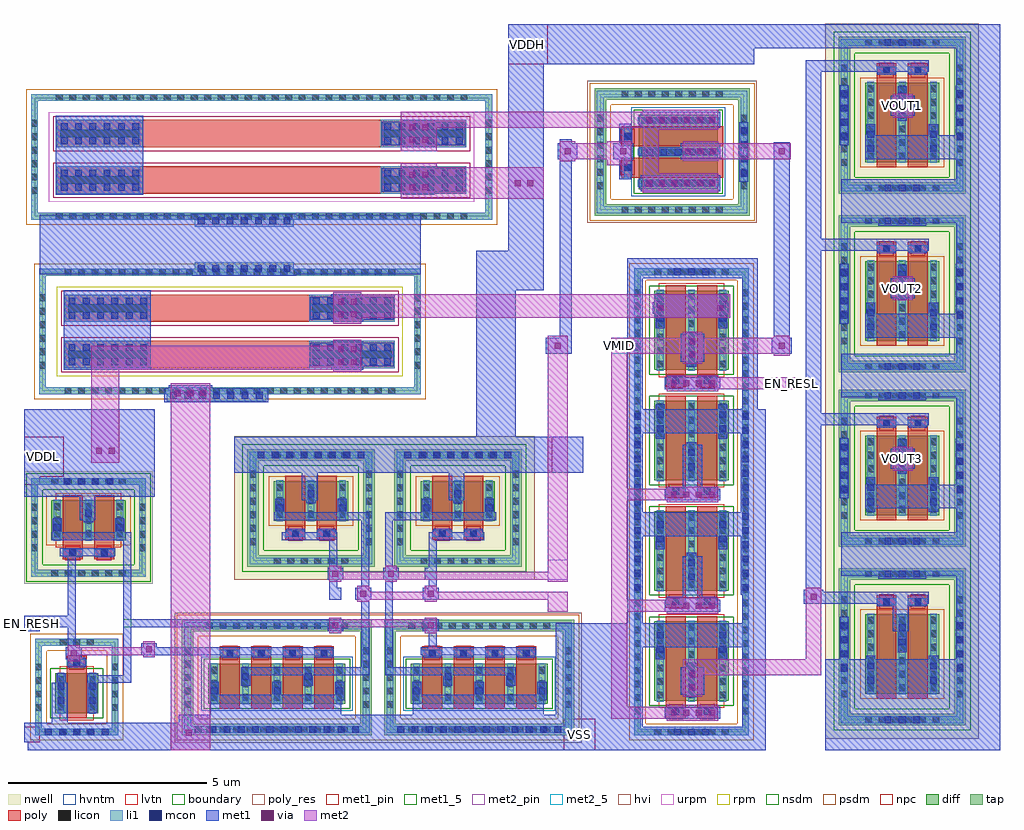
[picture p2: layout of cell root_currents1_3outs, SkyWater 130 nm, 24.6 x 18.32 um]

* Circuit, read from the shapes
.subckt root_currents1_3outs EN_RESH EN_RESL VDDH VDDL VMID VOUT1 VOUT2 VOUT3 VSS
XM1 lvl_shift_lohi1_7/DB EN_RESH VSS VSS sky130_fd_pr__nfet_01v8_lvt w=1 l=0.5
XM2 lvl_shift_lohi1_7/QB EN_RESH VSS VSS sky130_fd_pr__nfet_g5v0d10v5 w=1 l=0.5 m=4
XM3 lvl_shift_lohi1_7/Q lvl_shift_lohi1_7/DB VSS VSS sky130_fd_pr__nfet_g5v0d10v5 w=1 l=0.5 m=4
XM4 VMID lvl_shift_lohi1_7/Q n1 VSS sky130_fd_pr__nfet_g5v0d10v5 w=2 l=0.5 m=2
XM5 n2 VMID VSS VSS sky130_fd_pr__nfet_01v8_lvt w=2 l=0.5 m=2
XM6 VMID VMID VSS VSS sky130_fd_pr__nfet_01v8_lvt w=2 l=0.5 m=4
XM7 VMID EN_RESL n3 VSS sky130_fd_pr__nfet_01v8_lvt w=2 l=0.5 m=2
XM8 VDDL EN_RESH lvl_shift_lohi1_7/DB VDDL sky130_fd_pr__pfet_01v8_lvt w=1 l=0.5 m=2
XM9 VDDH lvl_shift_lohi1_7/Q lvl_shift_lohi1_7/QB VDDH sky130_fd_pr__pfet_g5v0d10v5 w=1 l=0.5 m=2
XM10 VDDH lvl_shift_lohi1_7/QB lvl_shift_lohi1_7/Q VDDH sky130_fd_pr__pfet_g5v0d10v5 w=1 l=0.5 m=2
XM11 n2 n2 VDDH VDDH sky130_fd_pr__pfet_g5v0d10v5 w=2 l=0.5 m=2
XM12 VOUT3 n2 VDDH VDDH sky130_fd_pr__pfet_g5v0d10v5 w=2 l=0.5 m=2
XM13 VOUT2 n2 VDDH VDDH sky130_fd_pr__pfet_g5v0d10v5 w=2 l=0.5 m=2
XM14 VOUT1 n2 VDDH VDDH sky130_fd_pr__pfet_g5v0d10v5 w=2 l=0.5 m=2
XR15 VDDH n4 VSS sky130_fd_pr__res_xhigh_po w=0.69 l=6.04
XR16 n1 n4 VSS sky130_fd_pr__res_xhigh_po w=0.69 l=6.04
XR17 VDDL n5 VSS sky130_fd_pr__res_high_po w=0.69 l=4.04
XR18 n3 n5 VSS sky130_fd_pr__res_high_po w=0.69 l=4.04
.ends

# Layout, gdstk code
from math import pi, radians
import gdstk
lib = gdstk.Library(unit=1e-6, precision=1e-09)
def R(c, l, rs):  # rectangles x0, y0, x1, y1
    for r in rs: c.add(gdstk.rectangle(r[:2], r[2:], *l))
def A(c, l, x, y, w, h, nx, ny, dx, dy):  # array of equal rectangles
    R(c, l, [(x+i*dx, y+j*dy, x+i*dx+w, y+j*dy+h) for i in range(nx) for j in range(ny)])
nwell = (64, 20)
diff = (65, 20)
tap = (65, 44)
poly_res = (66, 13)
poly = (66, 20)
licon = (66, 44)
li1 = (67, 20)
mcon = (67, 44)
met1_5 = (68, 5)
met1_pin = (68, 16)
met1 = (68, 20)
via = (68, 44)
met2_5 = (69, 5)
met2_pin = (69, 16)
met2 = (69, 20)
hvi = (75, 20)
urpm = (79, 20)
rpm = (86, 20)
nsdm = (93, 44)
psdm = (94, 20)
npc = (95, 20)
hvntm = (125, 20)
lvtn = (125, 44)
boundary = (235, 4)

sky130_fd_pr__pfet_g5v0d = lib.new_cell('sky130_fd_pr__pfet_g5v0d10v5_PY9F4X')
R(sky130_fd_pr__pfet_g5v0d, nwell, [(-1.935,-2.31,1.935,2.31)])
R(sky130_fd_pr__pfet_g5v0d, diff, [(-0.935,-1.18,0.935,0.82)])
R(sky130_fd_pr__pfet_g5v0d, tap, [(-1.605,-1.98,1.605,-1.69), (-1.605,-1.69,-1.315,1.69), (1.315,-1.69,1.605,1.69), (-1.605,1.69,1.605,1.98)])
R(sky130_fd_pr__pfet_g5v0d, poly, [(-0.645,-1.31,-0.145,1.305), (0.145,-1.31,0.645,1.305)])
A(sky130_fd_pr__pfet_g5v0d, licon, -0.935, -1.92, 0.17, 0.17, 6, 2, 0.34, 3.67)
A(sky130_fd_pr__pfet_g5v0d, licon, -1.545, -1.275, 0.17, 0.17, 1, 8, 0, 0.34)
A(sky130_fd_pr__pfet_g5v0d, licon, 1.375, -1.275, 0.17, 0.17, 1, 8, 0, 0.34)
A(sky130_fd_pr__pfet_g5v0d, licon, -0.875, -1.115, 0.17, 0.17, 3, 6, 0.79, 0.34)
R(sky130_fd_pr__pfet_g5v0d, licon, [(-0.48,1.055,-0.31,1.225), (0.31,1.055,0.48,1.225)])
A(sky130_fd_pr__pfet_g5v0d, li1, -0.875, -1.2, 0.17, 2.04, 3, 1, 0.79, 0)
R(sky130_fd_pr__pfet_g5v0d, li1, [(-1.545,-1.92,1.545,-1.75), (-1.545,-1.75,-1.375,1.75), (1.375,-1.75,1.545,1.75), (-0.645,1.055,-0.145,1.225), (0.145,1.055,0.645,1.225), (-1.545,1.75,1.545,1.92)])
A(sky130_fd_pr__pfet_g5v0d, mcon, -0.445, -1.92, 0.17, 0.17, 3, 2, 0.36, 3.67)
A(sky130_fd_pr__pfet_g5v0d, mcon, -1.545, -0.625, 0.17, 0.17, 1, 4, 0, 0.36)
A(sky130_fd_pr__pfet_g5v0d, mcon, 1.375, -0.625, 0.17, 0.17, 1, 4, 0, 0.36)
R(sky130_fd_pr__pfet_g5v0d, mcon, [(-0.875,-0.925,-0.705,-0.755), (0.705,-0.925,0.875,-0.755), (-0.875,-0.565,-0.705,-0.395), (0.705,-0.565,0.875,-0.395), (-0.085,0.035,0.085,0.205), (-0.085,0.395,0.085,0.565), (-0.48,1.055,-0.31,1.225), (0.31,1.055,0.48,1.225)])
R(sky130_fd_pr__pfet_g5v0d, met1, [(-0.61,-1.95,0.61,-1.72), (-0.905,-1.095,-0.675,-0.225), (0.675,-1.095,0.905,-0.225), (-1.575,-0.76,-1.345,0.76), (1.345,-0.76,1.575,0.76), (-0.115,-0.135,0.115,0.735), (-0.625,1.025,-0.165,1.255), (0.165,1.025,0.625,1.255), (-0.61,1.72,0.61,1.95)])
R(sky130_fd_pr__pfet_g5v0d, hvi, [(-1.935,-2.31,1.935,2.31)])
R(sky130_fd_pr__pfet_g5v0d, nsdm, [(-1.73,-2.105,1.73,-1.565), (-1.73,-1.565,-1.19,1.565), (1.19,-1.565,1.73,1.565), (-1.73,1.565,1.73,2.105)])
R(sky130_fd_pr__pfet_g5v0d, psdm, [(-1.06,-1.305,1.06,0.945)])
R(sky130_fd_pr__pfet_g5v0d, npc, [(-0.58,0.955,-0.21,1.325), (0.21,0.955,0.58,1.325)])
R(sky130_fd_pr__pfet_g5v0d, boundary, [(-1.46,-1.835,1.46,1.835)])

sky130_fd_pr__nfet_g5v0d = lib.new_cell('sky130_fd_pr__nfet_g5v0d10v5_FLD2WH')
R(sky130_fd_pr__nfet_g5v0d, diff, [(-0.935,-1.155,0.935,0.845)])
R(sky130_fd_pr__nfet_g5v0d, tap, [(-1.605,-1.955,1.605,-1.665), (-1.605,-1.665,-1.315,1.665), (1.315,-1.665,1.605,1.665), (-1.605,1.665,1.605,1.955)])
R(sky130_fd_pr__nfet_g5v0d, poly, [(-0.645,-1.285,-0.145,1.285), (0.145,-1.285,0.645,1.285)])
A(sky130_fd_pr__nfet_g5v0d, licon, -0.935, -1.895, 0.17, 0.17, 6, 2, 0.34, 3.62)
A(sky130_fd_pr__nfet_g5v0d, licon, -1.545, -1.275, 0.17, 0.17, 1, 8, 0, 0.34)
A(sky130_fd_pr__nfet_g5v0d, licon, 1.375, -1.275, 0.17, 0.17, 1, 8, 0, 0.34)
A(sky130_fd_pr__nfet_g5v0d, licon, -0.875, -1.09, 0.17, 0.17, 3, 6, 0.79, 0.34)
R(sky130_fd_pr__nfet_g5v0d, licon, [(-0.48,1.035,-0.31,1.205), (0.31,1.035,0.48,1.205)])
A(sky130_fd_pr__nfet_g5v0d, li1, -0.875, -1.175, 0.17, 2.04, 3, 1, 0.79, 0)
R(sky130_fd_pr__nfet_g5v0d, li1, [(-1.545,-1.895,1.545,-1.725), (-1.545,-1.725,-1.375,1.725), (1.375,-1.725,1.545,1.725), (-0.645,1.035,-0.145,1.205), (0.145,1.035,0.645,1.205), (-1.545,1.725,1.545,1.895)])
A(sky130_fd_pr__nfet_g5v0d, mcon, -0.625, -1.895, 0.17, 0.17, 4, 1, 0.36, 0)
A(sky130_fd_pr__nfet_g5v0d, mcon, -0.875, -0.96, 0.17, 0.17, 3, 5, 0.79, 0.36)
R(sky130_fd_pr__nfet_g5v0d, mcon, [(-0.48,1.035,-0.31,1.205), (0.31,1.035,0.48,1.205)])
A(sky130_fd_pr__nfet_g5v0d, met1, -0.905, -1.155, 0.23, 2, 3, 1, 0.79, 0)
R(sky130_fd_pr__nfet_g5v0d, met1, [(-0.75,-1.925,0.75,-1.695), (-0.625,1.005,-0.165,1.235), (0.165,1.005,0.625,1.235)])
R(sky130_fd_pr__nfet_g5v0d, hvi, [(-1.79,-2.14,1.79,2.14)])
R(sky130_fd_pr__nfet_g5v0d, nsdm, [(-1.06,-1.28,1.06,0.97)])
R(sky130_fd_pr__nfet_g5v0d, psdm, [(-1.73,-2.08,1.73,-1.54), (-1.73,-1.54,-1.19,1.54), (1.19,-1.54,1.73,1.54), (-1.73,1.54,1.73,2.08)])
R(sky130_fd_pr__nfet_g5v0d, npc, [(-0.58,0.935,-0.21,1.305), (0.21,0.935,0.58,1.305)])
R(sky130_fd_pr__nfet_g5v0d, hvntm, [(-1.12,-1.34,1.12,1.03)])
R(sky130_fd_pr__nfet_g5v0d, boundary, [(-1.46,-1.81,1.46,1.81)])

sky130_fd_pr__nfet_01v8_ = lib.new_cell('sky130_fd_pr__nfet_01v8_lvt_GXPBWL')
A(sky130_fd_pr__nfet_01v8_, diff, -0.935, -5.325, 1.87, 2, 1, 4, 0, 2.78)
R(sky130_fd_pr__nfet_01v8_, tap, [(-1.445,-5.885,1.445,-5.715), (-1.445,-5.715,-1.275,5.715), (1.275,-5.715,1.445,5.715), (-1.445,5.715,1.445,5.885)])
A(sky130_fd_pr__nfet_01v8_, poly, -0.645, -5.455, 0.5, 2.57, 1, 4, 0, 2.78)
A(sky130_fd_pr__nfet_01v8_, poly, 0.145, -5.455, 0.5, 2.57, 1, 4, 0, 2.78)
A(sky130_fd_pr__nfet_01v8_, licon, -0.935, -5.885, 0.17, 0.17, 6, 2, 0.34, 11.6)
A(sky130_fd_pr__nfet_01v8_, licon, -1.445, -5.355, 0.17, 0.17, 1, 32, 0, 0.34)
A(sky130_fd_pr__nfet_01v8_, licon, 1.275, -5.355, 0.17, 0.17, 1, 32, 0, 0.34)
A(sky130_fd_pr__nfet_01v8_, licon, -0.875, -5.26, 0.17, 0.17, 3, 6, 0.79, 0.34)
A(sky130_fd_pr__nfet_01v8_, licon, -0.48, -3.135, 0.17, 0.17, 1, 4, 0, 2.78)
A(sky130_fd_pr__nfet_01v8_, licon, 0.31, -3.135, 0.17, 0.17, 1, 4, 0, 2.78)
A(sky130_fd_pr__nfet_01v8_, licon, -0.875, -2.48, 0.17, 0.17, 3, 6, 0.79, 0.34)
A(sky130_fd_pr__nfet_01v8_, licon, -0.875, 0.3, 0.17, 0.17, 3, 6, 0.79, 0.34)
A(sky130_fd_pr__nfet_01v8_, licon, -0.875, 3.08, 0.17, 0.17, 3, 6, 0.79, 0.34)
A(sky130_fd_pr__nfet_01v8_, li1, -0.875, -5.345, 0.17, 2.04, 3, 4, 0.79, 2.78)
A(sky130_fd_pr__nfet_01v8_, li1, -0.645, -3.135, 0.5, 0.17, 1, 4, 0, 2.78)
A(sky130_fd_pr__nfet_01v8_, li1, 0.145, -3.135, 0.5, 0.17, 1, 4, 0, 2.78)
R(sky130_fd_pr__nfet_01v8_, li1, [(-1.445,-5.885,1.445,-5.715), (-1.445,-5.715,-1.275,5.715), (1.275,-5.715,1.445,5.715), (-1.445,5.715,1.445,5.885)])
A(sky130_fd_pr__nfet_01v8_, mcon, -0.445, -5.885, 0.17, 0.17, 3, 2, 0.36, 11.6)
A(sky130_fd_pr__nfet_01v8_, mcon, -0.48, -3.135, 0.17, 0.17, 1, 4, 0, 2.78)
A(sky130_fd_pr__nfet_01v8_, mcon, 0.31, -3.135, 0.17, 0.17, 1, 4, 0, 2.78)
A(sky130_fd_pr__nfet_01v8_, mcon, -1.445, -2.245, 0.17, 0.17, 1, 13, 0, 0.36)
A(sky130_fd_pr__nfet_01v8_, mcon, 1.275, -2.245, 0.17, 0.17, 1, 13, 0, 0.36)
R(sky130_fd_pr__nfet_01v8_, mcon, [(-0.875,-5.07,-0.705,-4.9), (0.705,-5.07,0.875,-4.9), (-0.875,-4.71,-0.705,-4.54), (0.705,-4.71,0.875,-4.54), (-0.085,-4.11,0.085,-3.94), (-0.085,-3.75,0.085,-3.58), (-0.875,-2.29,-0.705,-2.12), (0.705,-2.29,0.875,-2.12), (-0.875,-1.93,-0.705,-1.76), (0.705,-1.93,0.875,-1.76), (-0.085,-1.33,0.085,-1.16), (-0.085,-0.97,0.085,-0.8), (-0.875,0.49,-0.705,0.66), (0.705,0.49,0.875,0.66), (-0.875,0.85,-0.705,1.02), (0.705,0.85,0.875,1.02), (-0.085,1.45,0.085,1.62), (-0.085,1.81,0.085,1.98), (-0.875,3.27,-0.705,3.44), (0.705,3.27,0.875,3.44), (-0.875,3.63,-0.705,3.8), (0.705,3.63,0.875,3.8), (-0.085,4.23,0.085,4.4), (-0.085,4.59,0.085,4.76)])
A(sky130_fd_pr__nfet_01v8_, met1, -0.905, -5.24, 0.23, 0.87, 1, 4, 0, 2.78)
A(sky130_fd_pr__nfet_01v8_, met1, 0.675, -5.24, 0.23, 0.87, 1, 4, 0, 2.78)
A(sky130_fd_pr__nfet_01v8_, met1, -0.115, -4.28, 0.23, 0.87, 1, 4, 0, 2.78)
A(sky130_fd_pr__nfet_01v8_, met1, -0.625, -3.165, 0.46, 0.23, 1, 4, 0, 2.78)
A(sky130_fd_pr__nfet_01v8_, met1, 0.165, -3.165, 0.46, 0.23, 1, 4, 0, 2.78)
R(sky130_fd_pr__nfet_01v8_, met1, [(-0.57,-5.915,0.57,-5.685), (-1.475,-2.345,-1.245,2.345), (1.245,-2.345,1.475,2.345), (-0.57,5.685,0.57,5.915)])
A(sky130_fd_pr__nfet_01v8_, nsdm, -1.06, -5.45, 2.12, 2.25, 1, 4, 0, 2.78)
R(sky130_fd_pr__nfet_01v8_, psdm, [(-1.57,-6.01,1.57,-5.59), (-1.57,-5.59,-1.15,5.59), (1.15,-5.59,1.57,5.59), (-1.57,5.59,1.57,6.01)])
A(sky130_fd_pr__nfet_01v8_, npc, -0.58, -3.235, 0.37, 0.37, 1, 4, 0, 2.78)
A(sky130_fd_pr__nfet_01v8_, npc, 0.21, -3.235, 0.37, 0.37, 1, 4, 0, 2.78)
A(sky130_fd_pr__nfet_01v8_, lvtn, -0.825, -5.505, 1.65, 2.36, 1, 4, 0, 2.78)
R(sky130_fd_pr__nfet_01v8_, boundary, [(-1.36,-5.8,1.36,5.8)])

sky130_fd_pr__res_high_p = lib.new_cell('sky130_fd_pr__res_high_po_0p69_SYH6D8')
R(sky130_fd_pr__res_high_p, tap, [(-1.58,-4.81,1.58,-4.64), (-1.58,-4.64,-1.41,4.64), (1.41,-4.64,1.58,4.64), (-1.58,4.64,1.58,4.81)])
R(sky130_fd_pr__res_high_p, poly_res, [(-0.93,-2.08,-0.24,2.08), (0.24,-2.08,0.93,2.08)])
R(sky130_fd_pr__res_high_p, poly, [(-0.93,-4.16,-0.24,4.16), (0.24,-4.16,0.93,4.16)])
A(sky130_fd_pr__res_high_p, licon, -0.935, -4.81, 0.17, 0.17, 6, 2, 0.34, 9.45)
A(sky130_fd_pr__res_high_p, licon, -1.58, -4.165, 0.17, 0.17, 1, 25, 0, 0.34)
A(sky130_fd_pr__res_high_p, licon, 1.41, -4.165, 0.17, 0.17, 1, 25, 0, 0.34)
R(sky130_fd_pr__res_high_p, licon, [(-0.68,-4.08,-0.49,-2.08), (0.49,-4.08,0.68,-2.08), (-0.68,2.08,-0.49,4.08), (0.49,2.08,0.68,4.08)])
R(sky130_fd_pr__res_high_p, li1, [(-1.58,-4.81,1.58,-4.64), (-1.58,-4.64,-1.41,4.64), (1.41,-4.64,1.58,4.64), (-0.93,-4.16,-0.24,-2), (0.24,-4.16,0.93,-2), (-0.93,2,-0.24,4.16), (0.24,2,0.93,4.16), (-1.58,4.64,1.58,4.81)])
A(sky130_fd_pr__res_high_p, mcon, -0.85, -4.065, 0.17, 0.17, 1, 6, 0, 0.36)
A(sky130_fd_pr__res_high_p, mcon, -0.49, -4.065, 0.17, 0.17, 1, 6, 0, 0.36)
A(sky130_fd_pr__res_high_p, mcon, 0.32, -4.065, 0.17, 0.17, 1, 6, 0, 0.36)
A(sky130_fd_pr__res_high_p, mcon, 0.68, -4.065, 0.17, 0.17, 1, 6, 0, 0.36)
A(sky130_fd_pr__res_high_p, mcon, -0.85, 2.09, 0.17, 0.17, 1, 6, 0, 0.36)
A(sky130_fd_pr__res_high_p, mcon, -0.49, 2.09, 0.17, 0.17, 1, 6, 0, 0.36)
A(sky130_fd_pr__res_high_p, mcon, 0.32, 2.09, 0.17, 0.17, 1, 6, 0, 0.36)
A(sky130_fd_pr__res_high_p, mcon, 0.68, 2.09, 0.17, 0.17, 1, 6, 0, 0.36)
R(sky130_fd_pr__res_high_p, met1, [(-0.88,-4.13,-0.29,-2.025), (0.29,-4.13,0.88,-2.025), (-0.88,2.025,-0.29,4.13), (0.29,2.025,0.88,4.13)])
R(sky130_fd_pr__res_high_p, rpm, [(-1.13,-4.36,1.13,4.36)])
R(sky130_fd_pr__res_high_p, psdm, [(-1.705,-4.935,1.705,4.935)])
R(sky130_fd_pr__res_high_p, npc, [(-1.025,-4.255,-0.145,4.255), (0.145,-4.255,1.025,4.255)])
R(sky130_fd_pr__res_high_p, boundary, [(-1.495,-4.725,1.495,4.725)])

c_sky130_fd_pr__nfet_01v8_ = lib.new_cell('sky130_fd_pr__nfet_01v8_lvt_FETKPT')
R(c_sky130_fd_pr__nfet_01v8_, diff, [(-0.54,-0.655,0.54,0.345)])
R(c_sky130_fd_pr__nfet_01v8_, tap, [(-1.05,-1.215,1.05,-1.045), (-1.05,-1.045,-0.88,1.045), (0.88,-1.045,1.05,1.045), (-1.05,1.045,1.05,1.215)])
R(c_sky130_fd_pr__nfet_01v8_, poly, [(-0.25,-0.785,0.25,0.785)])
A(c_sky130_fd_pr__nfet_01v8_, licon, -0.425, -1.215, 0.17, 0.17, 3, 2, 0.34, 2.26)
A(c_sky130_fd_pr__nfet_01v8_, licon, -1.05, -0.595, 0.17, 0.17, 1, 4, 0, 0.34)
A(c_sky130_fd_pr__nfet_01v8_, licon, 0.88, -0.595, 0.17, 0.17, 1, 4, 0, 0.34)
A(c_sky130_fd_pr__nfet_01v8_, licon, -0.48, -0.58, 0.17, 0.17, 1, 3, 0, 0.34)
A(c_sky130_fd_pr__nfet_01v8_, licon, 0.31, -0.58, 0.17, 0.17, 1, 3, 0, 0.34)
R(c_sky130_fd_pr__nfet_01v8_, licon, [(-0.085,0.535,0.085,0.705)])
R(c_sky130_fd_pr__nfet_01v8_, li1, [(-1.05,-1.215,1.05,-1.045), (-1.05,-1.045,-0.88,1.045), (0.88,-1.045,1.05,1.045), (-0.48,-0.675,-0.31,0.365), (0.31,-0.675,0.48,0.365), (-0.25,0.535,0.25,0.705), (-1.05,1.045,1.05,1.215)])
A(c_sky130_fd_pr__nfet_01v8_, mcon, -0.805, -1.215, 0.17, 0.17, 5, 1, 0.36, 0)
R(c_sky130_fd_pr__nfet_01v8_, mcon, [(-0.48,-0.42,-0.31,-0.25), (0.31,-0.42,0.48,-0.25), (-0.48,-0.06,-0.31,0.11), (0.31,-0.06,0.48,0.11), (-0.085,0.535,0.085,0.705)])
R(c_sky130_fd_pr__nfet_01v8_, met1, [(-0.94,-1.245,0.94,-1.015), (-0.51,-0.655,-0.28,0.345), (0.28,-0.655,0.51,0.345), (-0.23,0.505,0.23,0.735)])
R(c_sky130_fd_pr__nfet_01v8_, nsdm, [(-0.665,-0.78,0.665,0.47)])
R(c_sky130_fd_pr__nfet_01v8_, psdm, [(-1.175,-1.34,1.175,-0.92), (-1.175,-0.92,-0.755,0.92), (0.755,-0.92,1.175,0.92), (-1.175,0.92,1.175,1.34)])
R(c_sky130_fd_pr__nfet_01v8_, npc, [(-0.185,0.435,0.185,0.805)])
R(c_sky130_fd_pr__nfet_01v8_, lvtn, [(-0.43,-0.835,0.43,0.525)])
R(c_sky130_fd_pr__nfet_01v8_, boundary, [(-0.965,-1.13,0.965,1.13)])

c_sky130_fd_pr__nfet_g5v0d = lib.new_cell('sky130_fd_pr__nfet_g5v0d10v5_8MENFK')
R(c_sky130_fd_pr__nfet_g5v0d, diff, [(-1.725,-0.655,1.725,0.345)])
R(c_sky130_fd_pr__nfet_g5v0d, tap, [(-2.395,-1.455,2.395,-1.165), (-2.395,-1.165,-2.105,1.165), (2.105,-1.165,2.395,1.165), (-2.395,1.165,2.395,1.455)])
A(c_sky130_fd_pr__nfet_g5v0d, poly, -1.435, -0.785, 0.5, 1.57, 4, 1, 0.79, 0)
A(c_sky130_fd_pr__nfet_g5v0d, licon, -1.785, -1.395, 0.17, 0.17, 11, 2, 0.34, 2.62)
A(c_sky130_fd_pr__nfet_g5v0d, licon, -2.335, -0.765, 0.17, 0.17, 1, 5, 0, 0.34)
A(c_sky130_fd_pr__nfet_g5v0d, licon, 2.165, -0.765, 0.17, 0.17, 1, 5, 0, 0.34)
A(c_sky130_fd_pr__nfet_g5v0d, licon, -1.665, -0.58, 0.17, 0.17, 5, 3, 0.79, 0.34)
A(c_sky130_fd_pr__nfet_g5v0d, licon, -1.27, 0.535, 0.17, 0.17, 4, 1, 0.79, 0)
A(c_sky130_fd_pr__nfet_g5v0d, li1, -1.665, -0.675, 0.17, 1.04, 5, 1, 0.79, 0)
A(c_sky130_fd_pr__nfet_g5v0d, li1, -1.435, 0.535, 0.5, 0.17, 4, 1, 0.79, 0)
R(c_sky130_fd_pr__nfet_g5v0d, li1, [(-2.335,-1.395,2.335,-1.225), (-2.335,-1.225,-2.165,1.225), (2.165,-1.225,2.335,1.225), (-2.335,1.225,2.335,1.395)])
A(c_sky130_fd_pr__nfet_g5v0d, mcon, -2.065, -1.395, 0.17, 0.17, 12, 1, 0.36, 0)
A(c_sky130_fd_pr__nfet_g5v0d, mcon, -1.665, -0.42, 0.17, 0.17, 3, 1, 1.58, 0)
A(c_sky130_fd_pr__nfet_g5v0d, mcon, -1.27, 0.535, 0.17, 0.17, 4, 1, 0.79, 0)
R(c_sky130_fd_pr__nfet_g5v0d, mcon, [(-0.875,-0.06,-0.705,0.11), (0.705,-0.06,0.875,0.11)])
A(c_sky130_fd_pr__nfet_g5v0d, met1, -1.695, -0.57, 0.23, 0.47, 3, 1, 1.58, 0)
A(c_sky130_fd_pr__nfet_g5v0d, met1, -1.415, 0.505, 0.46, 0.23, 4, 1, 0.79, 0)
R(c_sky130_fd_pr__nfet_g5v0d, met1, [(-2.225,-1.425,2.225,-1.195), (-0.905,-0.21,-0.675,0.26), (0.675,-0.21,0.905,0.26)])
R(c_sky130_fd_pr__nfet_g5v0d, hvi, [(-2.58,-1.64,2.58,1.64)])
R(c_sky130_fd_pr__nfet_g5v0d, nsdm, [(-1.85,-0.78,1.85,0.47)])
R(c_sky130_fd_pr__nfet_g5v0d, psdm, [(-2.52,-1.58,2.52,-1.04), (-2.52,-1.04,-1.98,1.04), (1.98,-1.04,2.52,1.04), (-2.52,1.04,2.52,1.58)])
A(c_sky130_fd_pr__nfet_g5v0d, npc, -1.37, 0.435, 0.37, 0.37, 4, 1, 0.79, 0)
R(c_sky130_fd_pr__nfet_g5v0d, hvntm, [(-1.91,-0.84,1.91,0.53)])
R(c_sky130_fd_pr__nfet_g5v0d, boundary, [(-2.25,-1.31,2.25,1.31)])

sky130_fd_pr__pfet_01v8_ = lib.new_cell('sky130_fd_pr__pfet_01v8_lvt_3K87YT')
R(sky130_fd_pr__pfet_01v8_, nwell, [(-1.625,-1.42,1.625,1.42)])
R(sky130_fd_pr__pfet_01v8_, diff, [(-0.935,-0.32,0.935,0.68)])
R(sky130_fd_pr__pfet_01v8_, tap, [(-1.445,-1.24,1.445,-1.07), (-1.445,-1.07,-1.275,1.07), (1.275,-1.07,1.445,1.07), (-1.445,1.07,1.445,1.24)])
R(sky130_fd_pr__pfet_01v8_, poly, [(-0.645,-0.805,-0.145,0.81), (0.145,-0.805,0.645,0.81)])
A(sky130_fd_pr__pfet_01v8_, licon, -0.935, -1.24, 0.17, 0.17, 6, 2, 0.34, 2.31)
A(sky130_fd_pr__pfet_01v8_, licon, -1.445, -0.595, 0.17, 0.17, 1, 4, 0, 0.34)
A(sky130_fd_pr__pfet_01v8_, licon, 1.275, -0.595, 0.17, 0.17, 1, 4, 0, 0.34)
A(sky130_fd_pr__pfet_01v8_, licon, -0.875, -0.245, 0.17, 0.17, 3, 3, 0.79, 0.34)
R(sky130_fd_pr__pfet_01v8_, licon, [(-0.48,-0.725,-0.31,-0.555), (0.31,-0.725,0.48,-0.555)])
A(sky130_fd_pr__pfet_01v8_, li1, -0.875, -0.34, 0.17, 1.04, 3, 1, 0.79, 0)
R(sky130_fd_pr__pfet_01v8_, li1, [(-1.445,-1.24,1.445,-1.07), (-1.445,-1.07,-1.275,1.07), (1.275,-1.07,1.445,1.07), (-0.645,-0.725,-0.145,-0.555), (0.145,-0.725,0.645,-0.555), (-1.445,1.07,1.445,1.24)])
A(sky130_fd_pr__pfet_01v8_, mcon, -0.625, 1.07, 0.17, 0.17, 4, 1, 0.36, 0)
R(sky130_fd_pr__pfet_01v8_, mcon, [(-0.48,-0.725,-0.31,-0.555), (0.31,-0.725,0.48,-0.555), (-0.875,-0.085,-0.705,0.085), (0.705,-0.085,0.875,0.085), (-0.085,0.275,0.085,0.445)])
R(sky130_fd_pr__pfet_01v8_, met1, [(-0.625,-0.755,-0.165,-0.525), (0.165,-0.755,0.625,-0.525), (-0.905,-0.235,-0.675,0.235), (0.675,-0.235,0.905,0.235), (-0.115,0.125,0.115,0.595), (-0.7,1.04,0.7,1.27)])
R(sky130_fd_pr__pfet_01v8_, nsdm, [(-1.57,-1.365,1.57,-0.945), (-1.57,-0.945,-1.15,0.945), (1.15,-0.945,1.57,0.945), (-1.57,0.945,1.57,1.365)])
R(sky130_fd_pr__pfet_01v8_, psdm, [(-1.06,-0.445,1.06,0.805)])
R(sky130_fd_pr__pfet_01v8_, npc, [(-0.58,-0.825,-0.21,-0.455), (0.21,-0.825,0.58,-0.455)])
R(sky130_fd_pr__pfet_01v8_, lvtn, [(-0.825,-0.5,0.825,0.86)])
R(sky130_fd_pr__pfet_01v8_, boundary, [(-1.36,-1.155,1.36,1.155)])

c_sky130_fd_pr__pfet_g5v0d = lib.new_cell('sky130_fd_pr__pfet_g5v0d10v5_3JABYW')
R(c_sky130_fd_pr__pfet_g5v0d, nwell, [(-1.935,-1.81,1.935,1.81)])
R(c_sky130_fd_pr__pfet_g5v0d, diff, [(-0.935,-0.32,0.935,0.68)])
R(c_sky130_fd_pr__pfet_g5v0d, tap, [(-1.605,-1.48,1.605,-1.19), (-1.605,-1.19,-1.315,1.19), (1.315,-1.19,1.605,1.19), (-1.605,1.19,1.605,1.48)])
R(c_sky130_fd_pr__pfet_g5v0d, poly, [(-0.645,-0.805,-0.145,0.81), (0.145,-0.805,0.645,0.81)])
A(c_sky130_fd_pr__pfet_g5v0d, licon, -0.935, -1.42, 0.17, 0.17, 6, 2, 0.34, 2.67)
A(c_sky130_fd_pr__pfet_g5v0d, licon, -1.545, -0.935, 0.17, 0.17, 1, 6, 0, 0.34)
A(c_sky130_fd_pr__pfet_g5v0d, licon, 1.375, -0.935, 0.17, 0.17, 1, 6, 0, 0.34)
A(c_sky130_fd_pr__pfet_g5v0d, licon, -0.875, -0.245, 0.17, 0.17, 3, 3, 0.79, 0.34)
R(c_sky130_fd_pr__pfet_g5v0d, licon, [(-0.48,-0.725,-0.31,-0.555), (0.31,-0.725,0.48,-0.555)])
A(c_sky130_fd_pr__pfet_g5v0d, li1, -0.875, -0.34, 0.17, 1.04, 3, 1, 0.79, 0)
R(c_sky130_fd_pr__pfet_g5v0d, li1, [(-1.545,-1.42,1.545,-1.25), (-1.545,-1.25,-1.375,1.25), (1.375,-1.25,1.545,1.25), (-0.645,-0.725,-0.145,-0.555), (0.145,-0.725,0.645,-0.555), (-1.545,1.25,1.545,1.42)])
A(c_sky130_fd_pr__pfet_g5v0d, mcon, -1.345, 1.25, 0.17, 0.17, 8, 1, 0.36, 0)
R(c_sky130_fd_pr__pfet_g5v0d, mcon, [(-0.48,-0.725,-0.31,-0.555), (0.31,-0.725,0.48,-0.555), (-0.875,-0.085,-0.705,0.085), (0.705,-0.085,0.875,0.085), (-0.085,0.275,0.085,0.445)])
R(c_sky130_fd_pr__pfet_g5v0d, met1, [(-0.625,-0.755,-0.165,-0.525), (0.165,-0.755,0.625,-0.525), (-0.905,-0.235,-0.675,0.235), (0.675,-0.235,0.905,0.235), (-0.115,0.125,0.115,0.595), (-1.435,1.22,1.435,1.45)])
R(c_sky130_fd_pr__pfet_g5v0d, hvi, [(-1.935,-1.81,1.935,1.81)])
R(c_sky130_fd_pr__pfet_g5v0d, nsdm, [(-1.73,-1.605,1.73,-1.065), (-1.73,-1.065,-1.19,1.065), (1.19,-1.065,1.73,1.065), (-1.73,1.065,1.73,1.605)])
R(c_sky130_fd_pr__pfet_g5v0d, psdm, [(-1.06,-0.445,1.06,0.805)])
R(c_sky130_fd_pr__pfet_g5v0d, npc, [(-0.58,-0.825,-0.21,-0.455), (0.21,-0.825,0.58,-0.455)])
R(c_sky130_fd_pr__pfet_g5v0d, boundary, [(-1.46,-1.335,1.46,1.335)])

lvl_shift_lohi1 = lib.new_cell('lvl_shift_lohi1')
R(lvl_shift_lohi1, met1_5, [(2.5,2.9,2.7,3.1)])
R(lvl_shift_lohi1, met1_pin, [(0,0,0.4,0.4), (0,2.9,0.3,3.2), (0,6.5,0.4,6.9), (13.3,6.8,14.1,7.7)])
R(lvl_shift_lohi1, met1, [(0,0,3.95,0.2), (13.85,0,14.1,0.2), (0,0.2,14.1,0.5), (0.7,0.5,1.1,1.5), (3.9,0.5,14.1,0.7), (4.7,0.7,8,1.2), (9.8,0.7,13.1,1.2), (1.6,1.5,2.7,1.7), (2.5,1.7,2.7,2.9), (5.5,1.7,8.7,1.9), (9.1,1.7,12.4,1.9), (1.1,1.9,1.3,2.1), (8.5,1.9,8.7,3.6), (9.1,1.9,9.3,4.1), (1.05,2.1,1.45,2.4), (2.95,2.2,7.8,2.4), (10,2.2,12.9,2.4), (1.1,2.4,1.3,2.9), (2.95,2.4,3.35,2.5), (10.2,2.4,10.4,2.8), (7.65,2.8,8.05,2.9), (10.05,2.8,10.45,3.1), (0,2.9,1.3,3.2), (2.5,2.9,8.05,3.1), (2.5,3.1,2.7,5.1), (1.1,3.2,1.3,4.7), (7.7,3.6,8,3.9), (8.35,3.6,8.75,3.9), (10.05,3.6,10.45,3.9), (7.7,3.9,7.9,4.1), (8.5,3.9,8.7,5.6), (10.2,3.9,10.4,4.1), (7.65,4.1,8.05,4.4), (9.05,4.1,9.45,4.4), (10.1,4.1,10.4,4.4), (7.7,4.4,7.9,5.1), (9.1,4.4,9.3,5.6), (10.2,4.4,10.4,5.1), (0.9,4.7,2.3,4.9), (0.7,5.1,2.7,5.3), (6.5,5.1,7.9,5.3), (10.2,5.1,11.6,5.3), (1.4,5.6,1.8,6.5), (6.3,5.6,8.7,5.8), (9.1,5.6,11.9,5.8), (7,6.1,7.4,6.8), (10.7,6.1,11.1,6.8), (0,6.5,3.3,8.4), (5.3,6.8,14.1,7.7)])
R(lvl_shift_lohi1, via, [(1.175,2.175,1.325,2.325), (3.075,2.275,3.225,2.425), (7.775,2.875,7.925,3.025), (10.175,2.875,10.325,3.025), (8.475,3.675,8.625,3.825), (10.175,3.675,10.325,3.825), (7.775,4.175,7.925,4.325), (9.175,4.175,9.325,4.325)])
R(lvl_shift_lohi1, met2_pin, [(13.2,3.3,13.7,3.8), (13.2,4.1,13.7,4.6)])
R(lvl_shift_lohi1, met2, [(1.1,2.05,1.4,2.2), (3,2.15,3.3,2.2), (1.1,2.2,3.3,2.4), (1.1,2.4,1.4,2.45), (3,2.4,3.3,2.55), (7.7,2.75,8,2.9), (10.1,2.75,10.4,2.9), (7.7,2.9,10.4,3.1), (7.7,3.1,8,3.15), (10.1,3.1,10.4,3.15), (13.2,3.3,13.7,3.6), (8.4,3.55,8.7,3.6), (10.1,3.55,10.4,3.6), (8.4,3.6,13.7,3.8), (8.4,3.8,8.7,3.95), (10.1,3.8,10.4,3.95), (7.7,4.05,8,4.1), (9.1,4.05,9.4,4.1), (7.7,4.1,13.7,4.3), (7.7,4.3,8,4.45), (9.1,4.3,9.4,4.45), (13.2,4.3,13.7,4.6)])
R(lvl_shift_lohi1, nsdm, [(8.965,4.305,9.205,7.515)])
R(lvl_shift_lohi1, psdm, [(8.895,0.055,8.955,3.215)])
lvl_shift_lohi1.add(gdstk.Reference(c_sky130_fd_pr__nfet_01v8_, (1.33,1.395)))
lvl_shift_lohi1.add(gdstk.Reference(c_sky130_fd_pr__nfet_g5v0d, (11.475,1.635)))
lvl_shift_lohi1.add(gdstk.Reference(c_sky130_fd_pr__nfet_g5v0d, (6.375,1.635)))
lvl_shift_lohi1.add(gdstk.Reference(sky130_fd_pr__pfet_01v8_, (1.625,5.42)))
lvl_shift_lohi1.add(gdstk.Reference(c_sky130_fd_pr__pfet_g5v0d, (10.935,5.91)))
lvl_shift_lohi1.add(gdstk.Reference(c_sky130_fd_pr__pfet_g5v0d, (7.235,5.91)))
lvl_shift_lohi1.add(gdstk.Label('VSS', (0.2,0.2), layer=68, texttype=5))
lvl_shift_lohi1.add(gdstk.Label('VDDL', (0.2,6.7), layer=68, texttype=5))
lvl_shift_lohi1.add(gdstk.Label('VDDH', (13.7,7.25), layer=68, texttype=5))
lvl_shift_lohi1.add(gdstk.Label('D', (0.15,3.05), layer=68, texttype=5))
lvl_shift_lohi1.add(gdstk.Label('DB', (2.6,3), layer=68, texttype=5))
lvl_shift_lohi1.add(gdstk.Label('QB', (13.45,3.55), layer=69, texttype=5))
lvl_shift_lohi1.add(gdstk.Label('Q', (13.45,4.35), layer=69, texttype=5))

sky130_fd_pr__res_xhigh_ = lib.new_cell('sky130_fd_pr__res_xhigh_po_0p69_A2KNKC')
R(sky130_fd_pr__res_xhigh_, tap, [(-1.58,-5.81,1.58,-5.64), (-1.58,-5.64,-1.41,5.64), (1.41,-5.64,1.58,5.64), (-1.58,5.64,1.58,5.81)])
R(sky130_fd_pr__res_xhigh_, poly_res, [(-0.93,-3.08,-0.24,3.08), (0.24,-3.08,0.93,3.08)])
R(sky130_fd_pr__res_xhigh_, poly, [(-0.93,-5.16,-0.24,5.16), (0.24,-5.16,0.93,5.16)])
A(sky130_fd_pr__res_xhigh_, licon, -0.935, -5.81, 0.17, 0.17, 6, 2, 0.34, 11.45)
A(sky130_fd_pr__res_xhigh_, licon, -1.58, -5.185, 0.17, 0.17, 1, 31, 0, 0.34)
A(sky130_fd_pr__res_xhigh_, licon, 1.41, -5.185, 0.17, 0.17, 1, 31, 0, 0.34)
R(sky130_fd_pr__res_xhigh_, licon, [(-0.68,-5.08,-0.49,-3.08), (0.49,-5.08,0.68,-3.08), (-0.68,3.08,-0.49,5.08), (0.49,3.08,0.68,5.08)])
R(sky130_fd_pr__res_xhigh_, li1, [(-1.58,-5.81,1.58,-5.64), (-1.58,-5.64,-1.41,5.64), (1.41,-5.64,1.58,5.64), (-0.93,-5.16,-0.24,-3), (0.24,-5.16,0.93,-3), (-0.93,3,-0.24,5.16), (0.24,3,0.93,5.16), (-1.58,5.64,1.58,5.81)])
A(sky130_fd_pr__res_xhigh_, mcon, -0.85, -5.065, 0.17, 0.17, 1, 6, 0, 0.36)
A(sky130_fd_pr__res_xhigh_, mcon, -0.49, -5.065, 0.17, 0.17, 1, 6, 0, 0.36)
A(sky130_fd_pr__res_xhigh_, mcon, 0.32, -5.065, 0.17, 0.17, 1, 6, 0, 0.36)
A(sky130_fd_pr__res_xhigh_, mcon, 0.68, -5.065, 0.17, 0.17, 1, 6, 0, 0.36)
A(sky130_fd_pr__res_xhigh_, mcon, -0.85, 3.09, 0.17, 0.17, 1, 6, 0, 0.36)
A(sky130_fd_pr__res_xhigh_, mcon, -0.49, 3.09, 0.17, 0.17, 1, 6, 0, 0.36)
A(sky130_fd_pr__res_xhigh_, mcon, 0.32, 3.09, 0.17, 0.17, 1, 6, 0, 0.36)
A(sky130_fd_pr__res_xhigh_, mcon, 0.68, 3.09, 0.17, 0.17, 1, 6, 0, 0.36)
R(sky130_fd_pr__res_xhigh_, met1, [(-0.88,-5.13,-0.29,-3.025), (0.29,-5.13,0.88,-3.025), (-0.88,3.025,-0.29,5.13), (0.29,3.025,0.88,5.13)])
R(sky130_fd_pr__res_xhigh_, urpm, [(-1.13,-5.36,1.13,5.36)])
R(sky130_fd_pr__res_xhigh_, psdm, [(-1.705,-5.935,1.705,5.935)])
R(sky130_fd_pr__res_xhigh_, npc, [(-1.025,-5.255,-0.145,5.255), (0.145,-5.255,1.025,5.255)])
R(sky130_fd_pr__res_xhigh_, boundary, [(-1.495,-5.725,1.495,5.725)])

root_currents1_3outs = lib.new_cell('root_currents1_3outs')
R(root_currents1_3outs, li1, [(3.6,8.6,6.1,8.9), (4.3,11.8,6.8,12.1), (4.3,13,6.8,13.3)])
A(root_currents1_3outs, mcon, 3.685, 8.665, 0.17, 0.17, 7, 1, 0.36, 0)
A(root_currents1_3outs, mcon, 4.385, 11.865, 0.17, 0.17, 7, 2, 0.36, 1.2)
R(root_currents1_3outs, met1_pin, [(13.6,-0.2,14.4,0.6), (0,2.8,0.4,3.2), (0,6.7,1,7.7), (12.2,17.1,13.2,18.1)])
A(root_currents1_3outs, met1, 16.15, 3.3, 1.4, 0.3, 1, 3, 0, 2.8)
R(root_currents1_3outs, met1, [(0.1,-0.2,18.7,0.4), (20.2,-0.2,24.6,2.1), (3.85,0.4,4.45,0.5), (13.4,0.4,15.6,2.4), (18.1,0.4,18.7,2.4), (16.15,0.6,17.55,0.9), (16.55,1.2,17.15,1.9), (23.5,2.1,24.6,4.2), (13.4,2.4,18.7,3), (0,2.8,0.4,3.2), (21.9,2.8,22.3,3.5), (15.2,3,15.6,5.2), (18.1,3,18.7,5.2), (19.65,3.5,22.8,3.8), (16.6,3.6,17.1,4.7), (19.65,3.8,20.15,3.85), (19.7,3.85,20.1,8), (20.6,4.2,24.6,5.3), (15.2,5.2,18.7,5.8), (23.5,5.3,24.6,5.9), (15.2,5.8,15.6,7.8), (18.1,5.8,18.7,7.8), (21.2,5.9,24.6,6.5), (0,6.2,3.3,7.7), (16.6,6.4,17.1,7.5), (23.5,6.5,24.6,8.7), (11.4,6.8,12.4,11.4), (21.85,6.9,22.45,7.4), (15.2,7.8,18.7,8.4), (19.7,8,22.8,8.3), (19.7,8.3,20.1,12.4), (15.2,8.4,15.6,11.7), (18.1,8.4,18.5,11.7), (3.54,8.57,6.16,8.93), (20.6,8.7,24.6,9.8), (3.65,8.93,4.75,9), (1,9.4,3.2,11.4), (7.75,9.4,8.55,10.1), (16.55,9.6,17.15,10.3), (13.15,9.8,13.8,10.2), (18.85,9.8,19.35,10.2), (23.5,9.8,24.6,10.2), (13.5,10.2,13.8,14.7), (18.9,10.2,19.3,15.13), (21.2,10.2,24.6,10.8), (7.75,10.6,8.55,11.3), (15.9,10.7,17.7,10.8), (15.85,10.8,17.75,11.1), (23.5,10.8,24.6,13.1), (15.9,11.1,17.7,11.3), (21.85,11.2,22.45,11.7), (11.4,11.4,13.1,12.4), (15.2,11.7,18.5,12.2), (4.24,11.77,6.86,11.8), (0.4,11.8,10,13.3), (12.2,12.4,13.1,17.1), (19.7,12.4,22.8,12.7), (19.7,12.7,20.1,16.9), (20.6,13.1,24.6,14.2), (4.24,13.3,6.86,13.33), (0.8,13.8,3,15.8), (9.55,13.8,10.35,14.5), (15.55,13.9,17.55,14.3), (15,14.2,15.3,14.7), (23.5,14.2,24.6,14.7), (13.45,14.7,13.95,15.1), (14.85,14.7,15.35,15.1), (16.55,14.7,17.55,15.1), (21.2,14.7,24.6,15.3), (9.55,15,10.35,15.7), (13.5,15.1,13.8,15.2), (15,15.1,15.3,15.6), (23.5,15.3,24.6,17.5), (15.55,15.5,17.55,15.9), (21.85,15.8,22.45,16.3), (19.7,16.9,22.8,17.2), (12.2,17.1,18.4,17.5), (12.2,17.5,24.6,18.1)])
A(root_currents1_3outs, via, 16.295, 0.675, 0.15, 0.15, 4, 2, 0.32, 2.7)
A(root_currents1_3outs, via, 16.295, 6.175, 0.15, 0.15, 4, 2, 0.32, 2.8)
A(root_currents1_3outs, via, 3.805, 8.725, 0.15, 0.15, 3, 1, 0.32, 0)
A(root_currents1_3outs, via, 15.675, 14.025, 0.15, 0.15, 6, 2, 0.32, 1.6)
A(root_currents1_3outs, via, 16.655, 14.825, 0.15, 0.15, 3, 1, 0.32, 0)
R(root_currents1_3outs, via, [(4.075,0.175,4.225,0.325), (16.775,1.315,16.925,1.465), (16.775,1.635,16.925,1.785), (19.825,3.6,19.975,3.75), (22.075,7.075,22.225,7.225), (1.815,7.275,1.965,7.425), (2.135,7.275,2.285,7.425), (7.915,9.515,8.065,9.665), (8.235,9.515,8.385,9.665), (16.775,9.715,16.925,9.865), (7.915,9.835,8.065,9.985), (8.235,9.835,8.385,9.985), (13.375,9.925,13.525,10.075), (19.025,9.925,19.175,10.075), (16.775,10.035,16.925,10.185), (7.915,10.715,8.065,10.865), (8.235,10.715,8.385,10.865), (15.975,10.875,16.125,11.025), (17.475,10.875,17.625,11.025), (7.915,11.035,8.065,11.185), (8.235,11.035,8.385,11.185), (22.075,11.375,22.225,11.525), (9.715,13.915,9.865,14.065), (10.035,13.915,10.185,14.065), (12.365,14.025,12.515,14.175), (12.685,14.025,12.835,14.175), (9.715,14.235,9.865,14.385), (10.035,14.235,10.185,14.385), (13.625,14.825,13.775,14.975), (15.025,14.825,15.175,14.975), (19.025,14.825,19.175,14.975), (9.715,15.115,9.865,15.265), (10.035,15.115,10.185,15.265), (9.715,15.435,9.865,15.585), (10.035,15.435,10.185,15.585), (22.075,15.975,22.225,16.125)])
R(root_currents1_3outs, met2_5, [(14.8,9.8,15.2,10.2)])
R(root_currents1_3outs, met2_pin, [(21.9,6.9,22.4,7.4), (19.2,8.9,19.5,9.2), (21.9,11.2,22.4,11.7), (21.9,15.8,22.4,16.3)])
R(root_currents1_3outs, met2, [(3.7,-0.2,4.7,9.05), (16.2,0.55,17.5,0.6), (14.8,0.6,17.5,0.9), (14.8,0.9,15.2,3.3), (16.2,0.9,17.5,0.95), (16.6,1.15,17.1,1.7), (16.6,1.7,20.1,2.1), (19.7,2.1,20.1,3.9), (16.2,3.25,17.5,3.3), (14.8,3.3,17.5,3.6), (14.8,3.6,15.2,6.1), (16.2,3.6,17.5,3.65), (13.2,4.05,13.7,10.25), (16.2,6.05,17.5,6.1), (14.8,6.1,17.5,6.4), (14.8,6.4,15.2,9.8), (16.2,6.4,17.5,6.45), (21.9,6.85,22.4,7.45), (1.7,7.05,2.4,9.4), (16.2,8.85,17.5,8.9), (16.2,8.9,19.5,9.2), (16.2,9.2,17.5,9.25), (7.8,9.35,8.5,9.4), (1.7,9.4,8.5,10), (16.6,9.55,17.1,9.8), (18.9,9.75,19.3,9.8), (14.8,9.8,19.3,10.2), (7.8,10,8.5,10.15), (16.6,10.2,17.1,10.35), (18.9,10.2,19.3,10.25), (7.8,10.55,8.5,10.7), (7.8,10.7,17.8,11.3), (21.9,11.15,22.4,11.75), (7.8,11.3,8.5,11.35), (9.5,13.7,13.1,14.5), (15.6,13.85,17.5,14.35), (15.6,14.35,16,15.45), (9.5,14.5,10.4,14.6), (14.7,14.55,15.2,14.65), (13.5,14.65,13.9,14.7), (14.7,14.65,15.3,14.7), (16.6,14.65,17.5,14.7), (13.5,14.7,15.3,15.1), (16.6,14.7,19.33,15.1), (9.5,14.9,10.4,15.5), (13.5,15.1,13.9,15.15), (14.7,15.1,15.3,15.15), (16.6,15.1,17.5,15.15), (15.6,15.45,17.5,15.5), (9.5,15.5,17.5,15.9), (21.9,15.75,22.4,16.35), (15.6,15.9,17.5,15.95)])
R(root_currents1_3outs, nsdm, [(20.405,4.515,23.865,4.805), (20.405,9.015,23.865,9.205), (20.405,13.415,23.865,13.705)])
root_currents1_3outs.add(gdstk.Reference(sky130_fd_pr__pfet_g5v0d, (22.135,11.31)))
root_currents1_3outs.add(gdstk.Reference(sky130_fd_pr__nfet_g5v0d, (16.335,14.885), rotation=pi/2))
root_currents1_3outs.add(gdstk.Reference(sky130_fd_pr__pfet_g5v0d, (22.135,2.41)))
root_currents1_3outs.add(gdstk.Reference(sky130_fd_pr__nfet_01v8_, (16.825,6.065), rotation=pi))
root_currents1_3outs.add(gdstk.Reference(sky130_fd_pr__pfet_g5v0d, (22.135,6.91)))
root_currents1_3outs.add(gdstk.Reference(sky130_fd_pr__pfet_g5v0d, (22.135,15.81)))
root_currents1_3outs.add(gdstk.Reference(sky130_fd_pr__res_high_p, (5.19,10.36), rotation=3*pi/2))
root_currents1_3outs.add(gdstk.Reference(lvl_shift_lohi1, (0,0)))
root_currents1_3outs.add(gdstk.Reference(sky130_fd_pr__res_xhigh_, (5.99,14.76), rotation=pi/2))
root_currents1_3outs.add(gdstk.Label('VSS', (14,0.2), layer=68, texttype=5))
root_currents1_3outs.add(gdstk.Label('VDDL', (0.5,7.2), layer=68, texttype=5))
root_currents1_3outs.add(gdstk.Label('VDDH', (12.7,17.6), layer=68, texttype=5))
root_currents1_3outs.add(gdstk.Label('EN_RESH', (0.2,3), layer=68, texttype=5))
root_currents1_3outs.add(gdstk.Label('VOUT3', (22.15,7.15), layer=69, texttype=5))
root_currents1_3outs.add(gdstk.Label('VOUT1', (22.15,16.05), layer=69, texttype=5))
root_currents1_3outs.add(gdstk.Label('VOUT2', (22.15,11.45), layer=69, texttype=5))
root_currents1_3outs.add(gdstk.Label('EN_RESL', (19.35,9.05), layer=69, texttype=5))
root_currents1_3outs.add(gdstk.Label('VMID', (15,10), layer=69, texttype=5))

lib.write_gds('root_currents1_3outs.gds')
